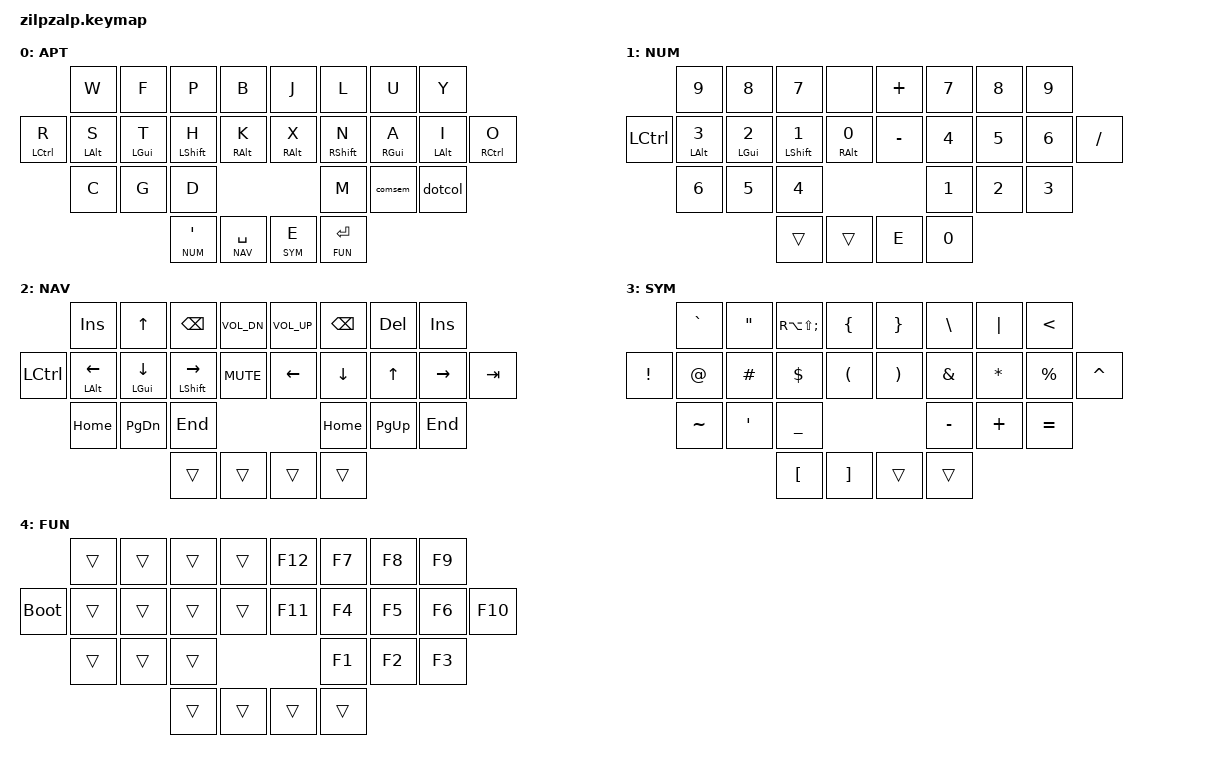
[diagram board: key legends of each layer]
#include <behaviors.dtsi>
#include <dt-bindings/zmk/keys.h>
//#include <dt-bindings/zmk/outputs.h>

#define APT 0
#define NUM 1
#define NAV 2
#define SYM 3
#define FUN 4

&lt {
    quick_tap_ms = <200>;
};

&caps_word {
    continue-list = <UNDERSCORE MINUS BSPC LSHFT RSHFT>;
};


/ {
    combos {
        compatible = "zmk,combos";
/* usually on base layer */
        combo_q {
            timeout-ms = <40>;
            key-positions = <2 3>;
            bindings = <&kp Q>;
        };
        combo_z {
            timeout-ms = <40>;
            key-positions = <20 21>;
            bindings = <&kp Z>;
        };
        combo_v {
            timeout-ms = <40>;
            key-positions = <1 2>;
            bindings = <&kp V>;
        };
        combo_slash {
            timeout-ms = <40>;
            key-positions = <24 25>;
            bindings = <&kp SLASH>;
        };
        combo_minus {
            timeout-ms = <40>;
            key-positions = <23 24>;
            bindings = <&kp MINUS>;
        };
        combo_esc {
            timeout-ms = <40>;
            key-positions = <21 22>;
            bindings = <&kp ESC>;
        };
/* parentheticals */
        combo_lbrc {
            timeout-ms = <40>;
            key-positions = <1 11>;
            bindings = <&kp LBRC>;
        };
        combo_lbkt {
            timeout-ms = <40>;
            key-positions = <2 12>;
            bindings = <&kp LBKT>;
        };
        combo_lpar {
            timeout-ms = <40>;
            key-positions = <3 13>;
            bindings = <&kp LPAR>;
        };
        combo_lt {
            timeout-ms = <40>;
            key-positions = <4 14>;
            bindings = <&kp LT>;
        };
        combo_rbrc {
            timeout-ms = <40>;
            key-positions = <8 18>;
            bindings = <&kp RBRC>;
        };
        combo_rbkt {
            timeout-ms = <40>;
            key-positions = <7 17>;
            bindings = <&kp RBKT>;
        };
        combo_rpar {
            timeout-ms = <40>;
            key-positions = <6 16>;
            bindings = <&kp RPAR>;
        };
        combo_gt {
            timeout-ms = <40>;
            key-positions = <5 15>;
            bindings = <&kp GT>;
        };
/* caps */
        combo_caps-word {
            timeout-ms = <40>;
            key-positions = <13 16>;
            bindings = <&caps_word>;
        };
        combo_capslock {
            timeout-ms = <40>;
            key-positions = <1 8>;
            bindings = <&kp CAPSLOCK>;
        };
/* deletion */
        combo_bspc {
            timeout-ms = <40>;
            key-positions = <16 17>;
            bindings = <&kp BSPC>;
        };
        combo_del {
            timeout-ms = <40>;
            key-positions = <17 18>;
            bindings = <&kp DEL>;
        };
        combo_delword {
            timeout-ms = <40>;
            key-positions = <16 18>;
            bindings = <&kp LC(BSPC)>;
        };
    };
};


/ {

    behaviors {
        hl: homerow_mods_left {
            compatible = "zmk,behavior-hold-tap";
            label = "homerow mods left";
            #binding-cells = <2>;
            flavor = "tap-preferred";
            tapping-term-ms = <200>;
            quick-tap-ms = <100>;
            // global-quick-tap;
            bindings = <&kp>, <&kp>;
            // opposite side hand keys
            hold-trigger-key-positions = <4 5 6 7 13 14 15 16 17 21 22 23 26 27>;
        };

        hr: homerow_mods_right {
            compatible = "zmk,behavior-hold-tap";
            label = "homerow mods right";
            #binding-cells = <2>;
            flavor = "tap-preferred";
            tapping-term-ms = <200>;
            quick-tap-ms = <100>;
            // global-quick-tap;
            bindings = <&kp>, <&kp>;
            // opposite side hand keys
            hold-trigger-key-positions = <0 1 2 3 8 9 10 11 12 18 19 20 24 25>;
        };

        dotcol: dot_colon {
            compatible = "zmk,behavior-mod-morph";
            label = "DOT_COL";
            #binding-cells = <0>;
            bindings = <&kp DOT>, <&kp COLON>;
            mods = <(MOD_LSFT|MOD_RSFT)>;
        };
        comsem: comma_semicolon {
            compatible = "zmk,behavior-mod-morph";
            label = "COM_SEM";
            #binding-cells = <0>;
            bindings = <&kp COMMA>, <&kp SEMI>;
            mods = <(MOD_LSFT|MOD_RSFT)>;
        };
    };
};


// zilpzalp key numbers
//     __________________________  __________________________
//    /     0  |  1  |  2  |  3  \/   4 |   5 |   6 |   7    \
// |  8  |  9  | 10  | 11  | 12  /\  13 |  14 |  15 |  16 | 17  |
//    \    18  | 19  | 20    /        \    21 |  22 |  23   /
//          \    24  | 25  /            \  26 |  27    /
//           --------------              --------------

/ {

    keymap {
        compatible = "zmk,keymap";

        aptmak {
            label = "APT";

            bindings = <
                               &kp W          &kp F          &kp P          &kp B          &kp J          &kp L          &kp U          &kp Y
                &hl LCTRL R    &hl LALT S     &hl LGUI T     &hl LSHFT H    &hl RALT K     &hr RALT X     &hr RSHFT N    &hr RGUI A     &hr LALT I     &hr RCTRL O
                               &kp C          &kp G          &kp D                                        &kp M          &comsem        &dotcol
                                                             &lt NUM SQT    &lt NAV SPACE  &lt SYM E      &lt FUN ENTER
            >;
        };
        numbers {
            label = "NUM";

            bindings = <
                               &kp N9         &kp N8         &kp N7         &none          &kp PLUS       &kp N7         &kp N8         &kp N9
                &kp LCTRL      &hl LALT N3    &hl LGUI N2    &hl LSHFT N1   &hl RALT N0    &kp MINUS      &kp N4         &kp N5         &kp N6         &kp SLASH
                               &kp N6         &kp N5         &kp N4                                       &kp N1         &kp N2         &kp N3
                                                             &trans         &trans         &kp E          &kp N0
            >;
        };
        navigation {
            label = "NAV";

            bindings = <
                               &kp INSERT     &kp UP         &kp BSPC        &kp C_VOL_DN   &kp C_VOL_UP   &kp BSPC       &kp DEL        &kp INSERT
                &kp LCTRL      &hl LALT LEFT  &hl LGUI DOWN  &hl LSHFT RIGHT &kp C_MUTE     &kp LEFT       &kp DOWN       &kp UP         &kp RIGHT      &kp TAB
                               &kp HOME       &kp PG_DN      &kp END                                       &kp HOME       &kp PG_UP      &kp END
                                                             &trans          &trans         &trans         &trans
            >;
        };
        symbols {
            label = "SYM";

            bindings = <
                               &kp GRAVE      &kp DQT        &kp RA(LS(SEMI)) &kp LBRC       &kp RBRC       &kp BACKSLASH  &kp PIPE       &kp LT
                &kp EXCL       &kp AT         &kp HASH       &kp DOLLAR       &kp LPAR       &kp RPAR       &kp AMPERSAND  &kp ASTERISK   &kp PERCENT    &kp CARET
                               &kp TILDE      &kp SQT        &kp UNDERSCORE                                 &kp MINUS      &kp PLUS       &kp EQUAL
                                                             &kp LBKT         &kp RBKT       &trans         &trans
            >;
        };
        function {
            label = "FUN";

            bindings = <
                               &trans         &trans         &trans         &trans         &kp F12        &kp F7         &kp F8         &kp F9
                &bootloader    &trans         &trans         &trans         &trans         &kp F11        &kp F4         &kp F5         &kp F6         &kp F10
                               &trans         &trans         &trans                                       &kp F1         &kp F2         &kp F3
                                                             &trans         &trans         &trans         &trans
            >;
        };

    };
};

//     __________________________  __________________________
//    /     1  |  2  |  3  |  4  \/   5 |   6 |   7 |   8    \
// | 10  | 11  | 12  | 13  | 14  ||  15 |  16 |  17 |  18 | 19  |
//    \    20  | 21  | 22  |     ||     |  23 |  24 |  25   /
//                \    26  | 27  /\  28 |  29    /
//                 --------------  --------------
